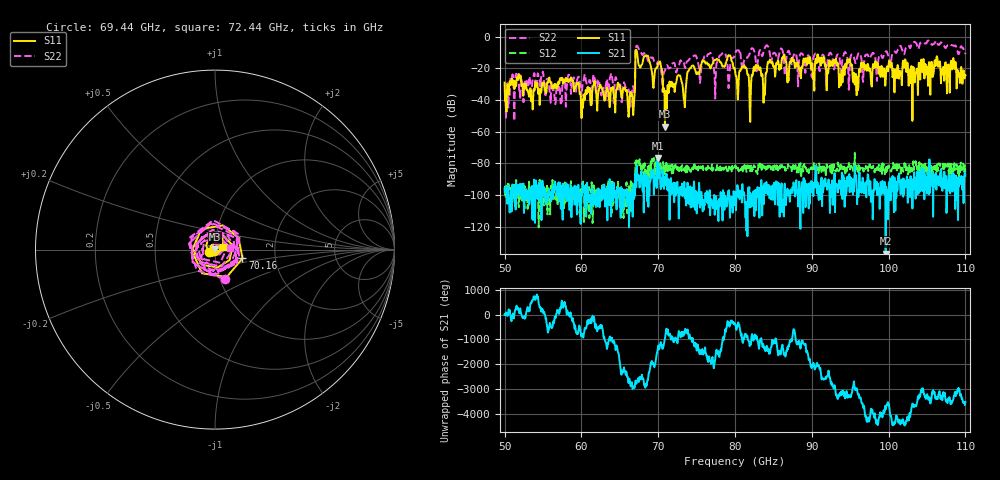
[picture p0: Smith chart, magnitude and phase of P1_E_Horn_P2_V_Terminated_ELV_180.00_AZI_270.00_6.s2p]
! 11/26/2026 10:28:52 AM
! C:\ANRITSUVNA\TEMP\TEMP.S2P
! CHANNEL.1
! TR.MEASUREMENT
! RAW.DATA
# HZ S RI R 50.0
! FREQ.HZ  S11RE  S11IM  S21RE  S21IM  S12RE  S12IM  S22RE  S22IM
!; PortSelection: Port_12
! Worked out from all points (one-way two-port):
!   1001 points, 50 GHz to 110 GHz, reference 50 ohm
!   highest |S21| = -76.55 dB at 69.92 GHz (marker M1); lowest = -137.0 dB at 99.62 GHz (marker M2)
!   lowest |S11| = -56.9 dB at 70.88 GHz (marker M3), VSWR 1.00, Z = 50 + j0.143 ohm
!   |S11| at or under -10 dB: start of sweep to 67.04 GHz; 67.24 GHz to end of sweep
!   |S22| runs from -53.2 to -2.3 dB; largest |S21 - S12| = 0.00029
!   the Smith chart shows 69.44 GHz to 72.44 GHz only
!   S11 on the Smith chart (normalised r, x): 69.44 GHz: 0.93, -0.02; 70.16 GHz: 1.35, -0.13; 72.44 GHz: 1.10, +0.03
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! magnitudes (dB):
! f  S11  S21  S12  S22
! 50 GHz  -29.0  -95.9  -98.7  -34.1
! 58.46 GHz  -27.1  -109.5  -97.9  -24.6
! 60.02 GHz  -51.4  -98.3  -98.1  -37.6
! 66.32 GHz  -36.5  -99.2  -107.9  -42.2
! 67.34 GHz  -14.0  -90.8  -79.6  -6.4
! 69.44 GHz  -28.6  -99.9  -76.6  -15.3
! 69.92 GHz  -18.1  -76.5  -81.4  -16.2
! 70.04 GHz  -17.0  -86.0  -82.9  -15.9
! 70.16 GHz  -15.9  -81.9  -81.0  -18.0
! 70.88 GHz  -56.9  -93.3  -86.8  -21.4
! 72.44 GHz  -26.1  -92.4  -83.5  -21.3
! 73.4 GHz  -40.0  -91.7  -84.5  -17.7
! 74.3 GHz  -19.1  -98.2  -82.2  -13.4
! 76.7 GHz  -18.8  -97.0  -83.3  -10.5
! 77.48 GHz  -14.7  -106.8  -84.4  -27.0
! 78.5 GHz  -18.6  -99.6  -84.2  -10.1
! 79.22 GHz  -11.6  -97.0  -82.0  -28.9
! 80 GHz  -20.8  -106.4  -82.2  -10.9
! 90.02 GHz  -16.7  -91.6  -83.6  -25.5
! 99.62 GHz  -28.0  -137.0  -85.8  -9.5
! 100 GHz  -16.1  -92.0  -82.6  -13.4
! 110 GHz  -24.3  -87.8  -85.6  -11.0
